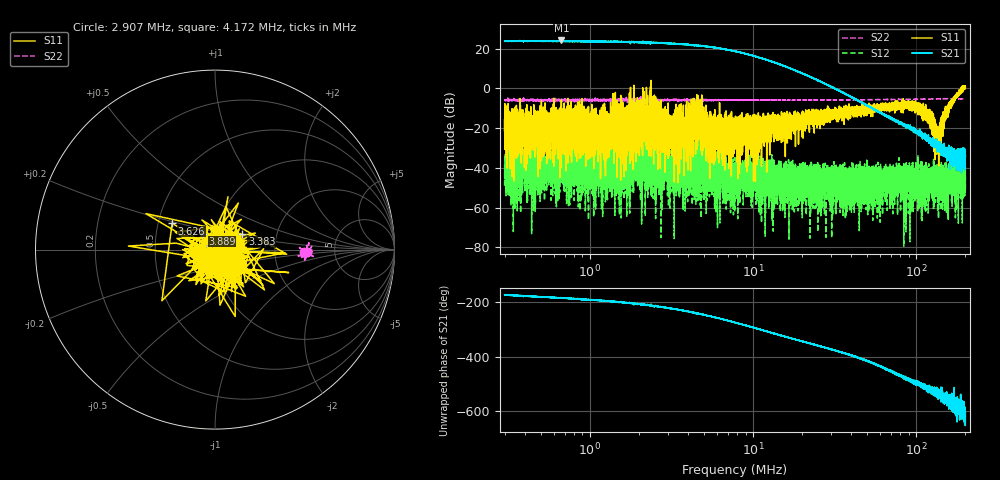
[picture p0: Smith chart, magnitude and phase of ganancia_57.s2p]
# Hz S DB R 50
! CMT, M5065, 19127446, 24.2.4/2
! Date: 11/1/2024 4:49:15 PM
! Data: Format (Calibration Info)
! Freq	S11:dB/Ang(F2)	S21:dB/Ang(F2)	S12:dB/Ang(F2)	S22:dB/Ang(F2)
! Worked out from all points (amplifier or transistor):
!   9000 points, 300 kHz to 200 MHz, reference 50 ohm
!   highest |S21| = 24.1 dB at 668.1 kHz (marker M1)
!   |S21| within 3 dB of that: start of sweep to 4.589 MHz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
!   unconditionally stable (mu >= 1): 5.144 MHz to 188 MHz; 189.009 MHz to 189.7553 MHz; 190.1044 MHz to 190.9931 MHz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
!   at 886.8 kHz: K = 2.54, MAG = 25.0 dB, |S12| = -40.1 dB
!   at 7.749 MHz: K = 7.72, MAG = 20.0 dB, |S12| = -45.1 dB
!   at 200 MHz: K = -599.32, MSG = 4.3 dB, |S12| = -42.4 dB
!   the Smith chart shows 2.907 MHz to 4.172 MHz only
!   S11 on the Smith chart (normalised r, x): 2.907 MHz: 0.99, -0.13; 3.383 MHz: 1.33, +0.24; 3.626 MHz: 0.59, +0.19; 3.889 MHz: 0.86, +0.15; 4.172 MHz: 0.85, -0.19
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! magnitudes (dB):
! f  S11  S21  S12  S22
! 300 kHz  -21.4  23.8  -48.9  -5.8
! 309.9 kHz  -21.1  23.8  -38.3  -5.8
! 668.1 kHz  -5.8  24.1  -35.4  -6.1
! 886.8 kHz  -21.4  23.6  -40.1  -6.1
! 1.284 MHz  -21.4  23.6  -49.0  -5.9
! 2.166 MHz  -20.4  23.1  -36.1  -5.6
! 2.621 MHz  -20.2  22.9  -25.8  -6.8
! 2.907 MHz  -23.6  22.8  -38.9  -6.1
! 3.383 MHz  -15.1  22.3  -33.9  -5.9
! 3.626 MHz  -11.1  22.4  -49.6  -5.9
! 3.889 MHz  -19.0  22.1  -45.2  -6.0
! 4.172 MHz  -17.9  22.0  -38.1  -5.8
! 4.465 MHz  -21.3  21.7  -37.1  -6.1
! 5.388 MHz  -22.7  21.0  -37.3  -5.9
! 7.749 MHz  -21.8  18.6  -45.1  -5.8
! 22.91 MHz  -13.0  5.5  -46.0  -5.8
! 67.71 MHz  -8.9  -14.8  -44.7  -5.5
! 107.9 MHz  -9.5  -22.8  -46.8  -5.4
! 120.4 MHz  -17.4  -25.4  -45.8  -5.3
! 135.5 MHz  -19.4  -28.0  -47.5  -5.2
! 157.2 MHz  -8.6  -29.5  -55.7  -5.2
! 200 MHz  1.0  -33.8  -42.4  -5.3
